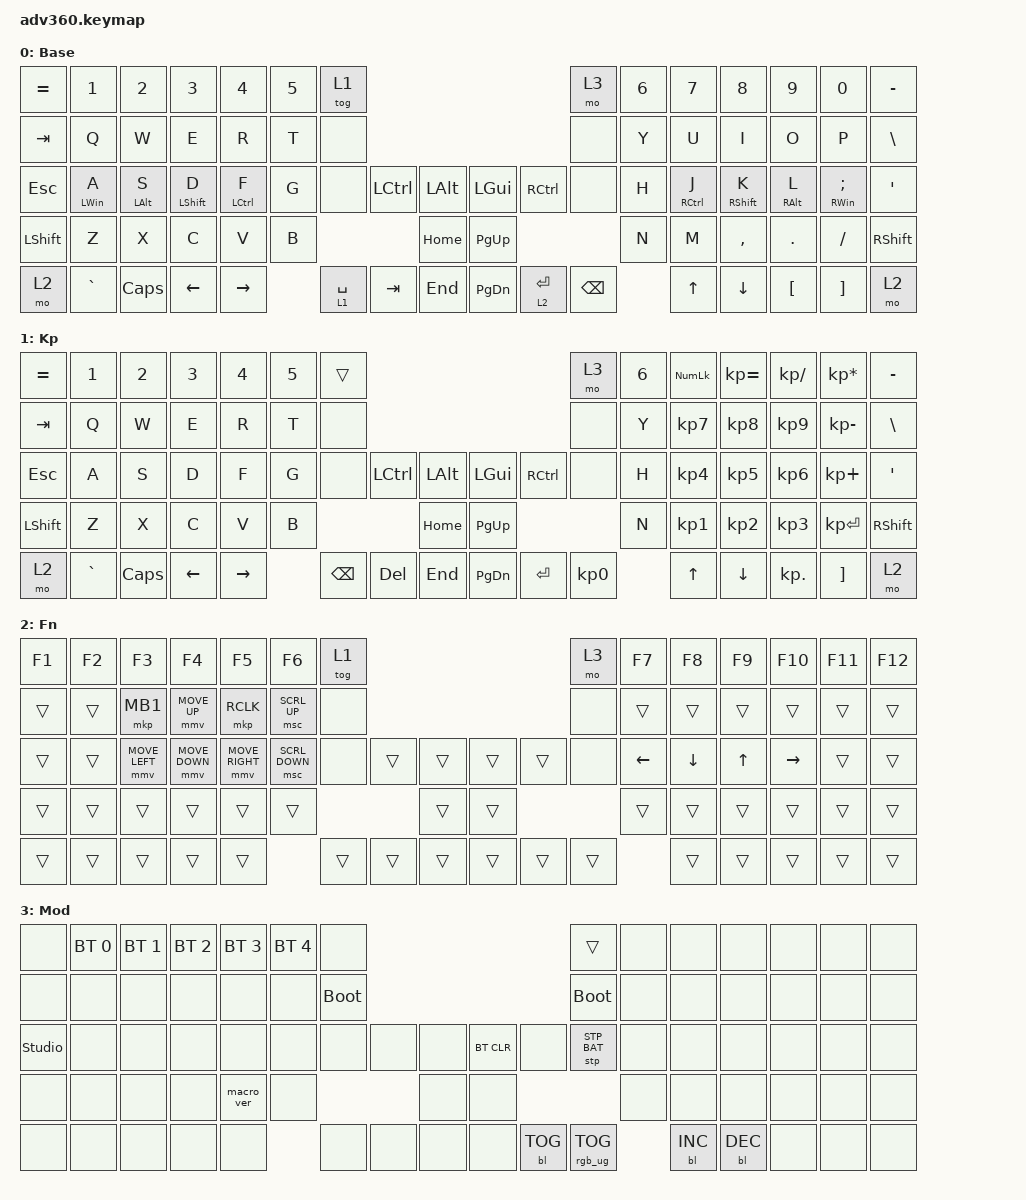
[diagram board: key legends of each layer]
#include <dt-bindings/zmk/stp.h>

#define ZMK_POINTING_DEFAULT_MOVE_VAL 1500  // default: 600

#include <behaviors.dtsi>
#include <dt-bindings/zmk/backlight.h>
#include <dt-bindings/zmk/bt.h>
#include <dt-bindings/zmk/keys.h>
#include <dt-bindings/zmk/pointing.h>
#include <dt-bindings/zmk/rgb.h>

/ {
    behaviors {
        #include "macros.dtsi"
      #include "version.dtsi"

        hm: homerow_mods {
            compatible = "zmk,behavior-hold-tap";
            label = "HOMEROW_MODS";
            #binding-cells = <2>;
            tapping-term-ms = <200>;
            flavor = "tap-preferred";
            bindings = <&kp>, <&kp>;

            quick-tap-ms = <175>;
        };

        kml: keymomentary {
            compatible = "zmk,behavior-hold-tap";
            label = "KEYMOMENTARY";
            bindings = <&mo>, <&kp>;

            #binding-cells = <2>;
            tapping-term-ms = <200>;
            quick-tap-ms = <175>;
            flavor = "tap-preferred";
        };
    };

    keymap {
        compatible = "zmk,keymap";

        default_layer {
            display-name = "Base";
            bindings = <
&kp EQUAL  &kp N1          &kp N2          &kp N3            &kp N4              &kp N5  &tog 1                                                          &mo 3          &kp N6  &kp N7               &kp N8             &kp N9           &kp N0                   &kp MINUS
&kp TAB    &kp Q           &kp W           &kp E             &kp R               &kp T   &none                                                           &none          &kp Y   &kp U                &kp I              &kp O            &kp P                    &kp BSLH
&kp ESC    &hm LEFT_WIN A  &hm LEFT_ALT S  &hm LEFT_SHIFT D  &hm LEFT_CONTROL F  &kp G   &none         &kp LCTRL  &kp LALT      &kp LGUI   &kp RCTRL     &none          &kp H   &hm RIGHT_CONTROL J  &hm RIGHT_SHIFT K  &hm RIGHT_ALT L  &hm RIGHT_WIN SEMICOLON  &kp SQT
&kp LSHFT  &kp Z           &kp X           &kp C             &kp V               &kp B                            &kp HOME      &kp PG_UP                               &kp N   &kp M                &kp COMMA          &kp DOT          &kp FSLH                 &kp RSHFT
&mo 2      &kp GRAVE       &kp CAPS        &kp LEFT          &kp RIGHT                   &kml 1 SPACE  &kp TAB    &kp END       &kp PG_DN  &kml 2 ENTER  &kp BACKSPACE          &kp UP               &kp DOWN           &kp LBKT         &kp RBKT                 &mo 2
            >;
        };

        keypad {
            display-name = "Kp";
            bindings = <
&kp EQUAL  &kp N1     &kp N2    &kp N3    &kp N4     &kp N5  &trans                                                   &mo 3      &kp N6  &kp KP_NUM  &kp KP_EQUAL  &kp KP_DIVIDE  &kp KP_MULTIPLY  &kp MINUS
&kp TAB    &kp Q      &kp W     &kp E     &kp R      &kp T   &none                                                    &none      &kp Y   &kp KP_N7   &kp KP_N8     &kp KP_N9      &kp KP_MINUS     &kp BSLH
&kp ESC    &kp A      &kp S     &kp D     &kp F      &kp G   &none     &kp LCTRL  &kp LALT      &kp LGUI   &kp RCTRL  &none      &kp H   &kp KP_N4   &kp KP_N5     &kp KP_N6      &kp KP_PLUS      &kp SQT
&kp LSHFT  &kp Z      &kp X     &kp C     &kp V      &kp B                        &kp HOME      &kp PG_UP                        &kp N   &kp KP_N1   &kp KP_N2     &kp KP_N3      &kp KP_ENTER     &kp RSHFT
&mo 2      &kp GRAVE  &kp CAPS  &kp LEFT  &kp RIGHT          &kp BSPC  &kp DEL    &kp END       &kp PG_DN  &kp ENTER  &kp KP_N0          &kp UP      &kp DOWN      &kp KP_DOT     &kp RBKT         &mo 2
            >;
        };

        fn {
            display-name = "Fn";
            bindings = <
&kp F1  &kp F2  &kp F3          &kp F4          &kp F5           &kp F6          &tog 1                                      &mo 3   &kp F7          &kp F8          &kp F9        &kp F10    &kp F11  &kp F12
&trans  &trans  &mkp MB1        &mmv MOVE_UP    &mkp RCLK        &msc SCRL_UP    &none                                       &none   &trans          &trans          &trans        &trans     &trans   &trans
&trans  &trans  &mmv MOVE_LEFT  &mmv MOVE_DOWN  &mmv MOVE_RIGHT  &msc SCRL_DOWN  &none   &trans  &trans      &trans  &trans  &none   &kp LEFT_ARROW  &kp DOWN_ARROW  &kp UP_ARROW  &kp RIGHT  &trans   &trans
&trans  &trans  &trans          &trans          &trans           &trans                          &trans      &trans                  &trans          &trans          &trans        &trans     &trans   &trans
&trans  &trans  &trans          &trans          &trans                           &trans  &trans  &trans      &trans  &trans  &trans                  &trans          &trans        &trans     &trans   &trans
            >;
        };

        mod {
            display-name = "Mod";
            bindings = <
&none           &bt BT_SEL 0  &bt BT_SEL 1  &bt BT_SEL 2  &bt BT_SEL 3  &bt BT_SEL 4  &none                                                  &trans           &none  &none       &none       &none  &none  &none
&none           &none         &none         &none         &none         &none         &bootloader                                            &bootloader      &none  &none       &none       &none  &none  &none
&studio_unlock  &none         &none         &none         &none         &none         &none        &none  &none      &bt BT_CLR  &none       &stp STP_BAT     &none  &none       &none       &none  &none  &none
&none           &none         &none         &none         &macro_ver    &none                             &none      &none                                    &none  &none       &none       &none  &none  &none
&none           &none         &none         &none         &none                       &none        &none  &none      &none       &bl BL_TOG  &rgb_ug RGB_TOG         &bl BL_INC  &bl BL_DEC  &none  &none  &none
            >;
        };

        extra1 {
            display-name = "Red";
            status = "reserved";
        };

        extra2 {
            display-name = "Purple";
            status = "reserved";
        };

        extra3 {
            display-name = "Cyan";
            status = "reserved";
        };

        extra4 {
            display-name = "Yellow";
            status = "reserved";
        };
    };
};
